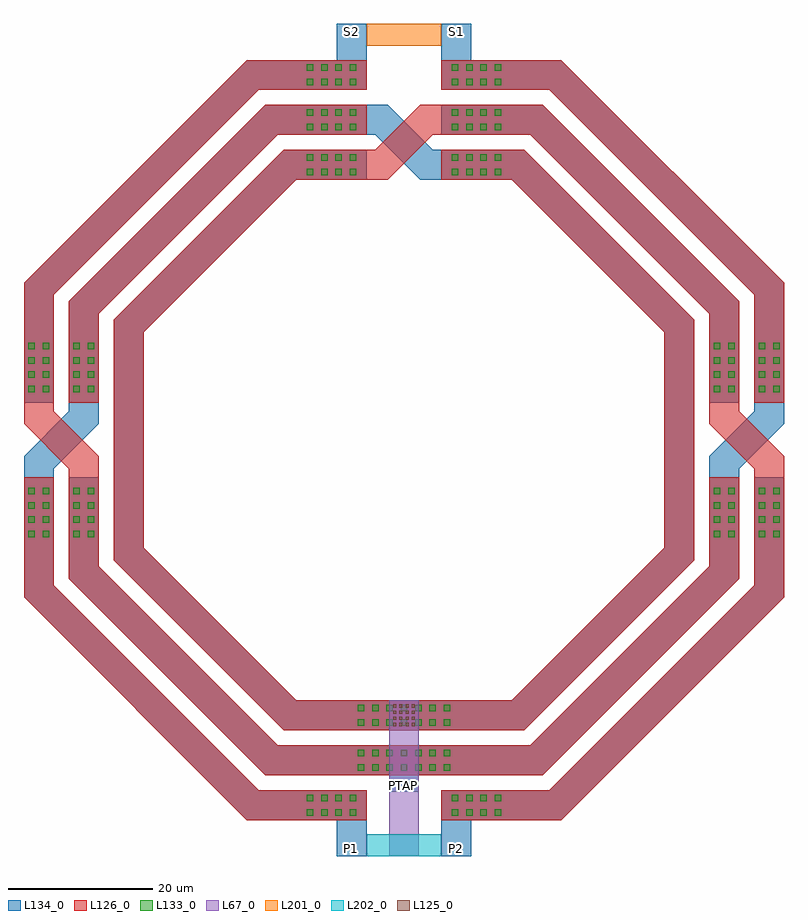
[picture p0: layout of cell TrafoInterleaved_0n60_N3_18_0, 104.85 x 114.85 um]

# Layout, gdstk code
import gdstk
lib = gdstk.Library(unit=1e-6, precision=1e-09)
def R(c, l, rs):  # rectangles x0, y0, x1, y1
    for r in rs: c.add(gdstk.rectangle(r[:2], r[2:], *l))
def A(c, l, x, y, w, h, nx, ny, dx, dy):  # array of equal rectangles
    R(c, l, [(x+i*dx, y+j*dy, x+i*dx+w, y+j*dy+h) for i in range(nx) for j in range(ny)])
def P(c, l, *ps):  # polygons
    for p in ps: c.add(gdstk.Polygon(p, *l))
L67_0 = (67, 0)
L125_0 = (125, 0)
L126_0 = (126, 0)
L133_0 = (133, 0)
L134_0 = (134, 0)
L201_0 = (201, 0)
L202_0 = (202, 0)

trafointerleaved_0n60_n3 = lib.new_cell('TrafoInterleaved_0n60_N3_18_0')
R(trafointerleaved_0n60_n3, L67_0, [(120.375,40,124.475,61.5)])
A(trafointerleaved_0n60_n3, L125_0, 120.94, 57.965, 0.42, 0.42, 4, 4, 0.85, 0.85)
P(trafointerleaved_0n60_n3, L126_0, [(170.75,102.575),(170.75,117.441),(142.441,145.75),(127.575,145.75),(127.575,149.85),(144.139,149.85),(174.85,119.139),(174.85,102.575)],
  [(127.575,45),(127.575,49.1),(142.441,49.1),(170.75,77.409),(170.75,93.476),(164.55,99.676),(164.55,114.876),(139.876,139.55),(126.374,139.55),(120.174,133.35),(107.544,133.35),(86.5,112.306),(86.5,82.544),(107.544,61.5),(137.306,61.5),(158.35,82.544),(158.35,112.306),(137.306,133.35),(127.575,133.35),(127.575,137.45),(139.004,137.45),(162.45,114.004),(162.45,80.846),(139.004,57.4),(105.846,57.4),(82.4,80.846),(82.4,114.004),(105.846,137.45),(118.476,137.45),(124.676,143.65),(141.574,143.65),(168.65,116.574),(168.65,101.374),(174.85,95.174),(174.85,75.711),(144.139,45)],
  [(76.2,102.575),(76.2,116.574),(103.276,143.65),(117.275,143.65),(117.275,139.55),(104.974,139.55),(80.3,114.876),(80.3,102.575)],
  [(103.276,51.2),(76.2,78.276),(76.2,93.476),(70,99.676),(70,119.139),(100.711,149.85),(117.275,149.85),(117.275,145.75),(102.409,145.75),(74.1,117.441),(74.1,101.374),(80.3,95.174),(80.3,79.974),(104.974,55.3),(139.876,55.3),(164.55,79.974),(164.55,92.275),(168.65,92.275),(168.65,78.276),(141.574,51.2)],
  [(100.711,45),(70,75.711),(70,92.275),(74.1,92.275),(74.1,77.409),(102.409,49.1),(117.275,49.1),(117.275,45)])
A(trafointerleaved_0n60_n3, L133_0, 109.005, 45.615, 0.9, 0.9, 4, 2, 1.97, 1.97)
A(trafointerleaved_0n60_n3, L133_0, 129.035, 45.615, 0.9, 0.9, 4, 2, 1.97, 1.97)
A(trafointerleaved_0n60_n3, L133_0, 116.065, 51.815, 0.9, 0.9, 7, 2, 1.97, 1.97)
A(trafointerleaved_0n60_n3, L133_0, 116.065, 58.015, 0.9, 0.9, 7, 2, 1.97, 1.97)
A(trafointerleaved_0n60_n3, L133_0, 70.615, 84.005, 0.9, 0.9, 1, 4, 0, 1.97)
A(trafointerleaved_0n60_n3, L133_0, 72.585, 84.005, 0.9, 0.9, 1, 4, 0, 1.97)
A(trafointerleaved_0n60_n3, L133_0, 76.815, 84.005, 0.9, 0.9, 1, 4, 0, 1.97)
A(trafointerleaved_0n60_n3, L133_0, 78.785, 84.005, 0.9, 0.9, 1, 4, 0, 1.97)
A(trafointerleaved_0n60_n3, L133_0, 165.165, 84.005, 0.9, 0.9, 1, 4, 0, 1.97)
A(trafointerleaved_0n60_n3, L133_0, 167.135, 84.005, 0.9, 0.9, 1, 4, 0, 1.97)
A(trafointerleaved_0n60_n3, L133_0, 171.365, 84.005, 0.9, 0.9, 1, 4, 0, 1.97)
A(trafointerleaved_0n60_n3, L133_0, 173.335, 84.005, 0.9, 0.9, 1, 4, 0, 1.97)
A(trafointerleaved_0n60_n3, L133_0, 70.615, 104.035, 0.9, 0.9, 1, 4, 0, 1.97)
A(trafointerleaved_0n60_n3, L133_0, 72.585, 104.035, 0.9, 0.9, 1, 4, 0, 1.97)
A(trafointerleaved_0n60_n3, L133_0, 76.815, 104.035, 0.9, 0.9, 1, 4, 0, 1.97)
A(trafointerleaved_0n60_n3, L133_0, 78.785, 104.035, 0.9, 0.9, 1, 4, 0, 1.97)
A(trafointerleaved_0n60_n3, L133_0, 165.165, 104.035, 0.9, 0.9, 1, 4, 0, 1.97)
A(trafointerleaved_0n60_n3, L133_0, 167.135, 104.035, 0.9, 0.9, 1, 4, 0, 1.97)
A(trafointerleaved_0n60_n3, L133_0, 171.365, 104.035, 0.9, 0.9, 1, 4, 0, 1.97)
A(trafointerleaved_0n60_n3, L133_0, 173.335, 104.035, 0.9, 0.9, 1, 4, 0, 1.97)
A(trafointerleaved_0n60_n3, L133_0, 109.005, 133.965, 0.9, 0.9, 4, 2, 1.97, 1.97)
A(trafointerleaved_0n60_n3, L133_0, 129.035, 133.965, 0.9, 0.9, 4, 2, 1.97, 1.97)
A(trafointerleaved_0n60_n3, L133_0, 109.005, 140.165, 0.9, 0.9, 4, 2, 1.97, 1.97)
A(trafointerleaved_0n60_n3, L133_0, 129.035, 140.165, 0.9, 0.9, 4, 2, 1.97, 1.97)
A(trafointerleaved_0n60_n3, L133_0, 109.005, 146.365, 0.9, 0.9, 4, 2, 1.97, 1.97)
A(trafointerleaved_0n60_n3, L133_0, 129.035, 146.365, 0.9, 0.9, 4, 2, 1.97, 1.97)
P(trafointerleaved_0n60_n3, L134_0, [(120.375,48.9),(120.375,51.2),(103.276,51.2),(76.2,78.276),(76.2,92.275),(80.3,92.275),(80.3,79.974),(104.974,55.3),(139.876,55.3),(164.55,79.974),(164.55,95.174),(170.75,101.374),(170.75,117.441),(142.441,145.75),(127.575,145.75),(127.575,154.85),(131.675,154.85),(131.675,149.85),(144.139,149.85),(174.85,119.139),(174.85,99.676),(168.65,93.476),(168.65,78.276),(141.574,51.2),(124.475,51.2),(124.475,48.9)],
  [(164.55,102.575),(164.55,114.876),(139.876,139.55),(127.575,139.55),(127.575,143.65),(141.574,143.65),(168.65,116.574),(168.65,102.575)],
  [(127.575,40),(127.575,49.1),(142.441,49.1),(170.75,77.409),(170.75,92.275),(174.85,92.275),(174.85,75.711),(144.139,45),(131.675,45),(131.675,40)],
  [(70,102.575),(70,119.139),(100.711,149.85),(113.175,149.85),(113.175,154.85),(117.275,154.85),(117.275,145.75),(102.409,145.75),(74.1,117.441),(74.1,102.575)],
  [(113.175,40),(113.175,45),(100.711,45),(70,75.711),(70,95.174),(76.2,101.374),(76.2,116.574),(103.276,143.65),(120.174,143.65),(126.374,137.45),(139.004,137.45),(162.45,114.004),(162.45,80.846),(139.004,57.4),(105.846,57.4),(82.4,80.846),(82.4,114.004),(105.846,137.45),(117.275,137.45),(117.275,133.35),(107.544,133.35),(86.5,112.306),(86.5,82.544),(107.544,61.5),(137.306,61.5),(158.35,82.544),(158.35,112.306),(137.306,133.35),(124.676,133.35),(118.476,139.55),(104.974,139.55),(80.3,114.876),(80.3,99.676),(74.1,93.476),(74.1,77.409),(102.409,49.1),(117.275,49.1),(117.275,40)])
R(trafointerleaved_0n60_n3, L201_0, [(117.275,151.85,127.575,154.85)])
R(trafointerleaved_0n60_n3, L202_0, [(117.275,40,127.575,43)])
trafointerleaved_0n60_n3.add(gdstk.Label('PTAP', (122.4,49.8), layer=63, texttype=0))
trafointerleaved_0n60_n3.add(gdstk.Label('STAP', (122.4,49.8), layer=63, texttype=0))
trafointerleaved_0n60_n3.add(gdstk.Label('S2', (115.225,153.825), layer=63, texttype=0))
trafointerleaved_0n60_n3.add(gdstk.Label('S1', (129.625,153.825), layer=63, texttype=0))
trafointerleaved_0n60_n3.add(gdstk.Label('P2', (129.625,41.025), layer=63, texttype=0))
trafointerleaved_0n60_n3.add(gdstk.Label('P1', (115.225,41.025), layer=63, texttype=0))

lib.write_gds('TrafoInterleaved_0n60_N3_18_0.gds')
